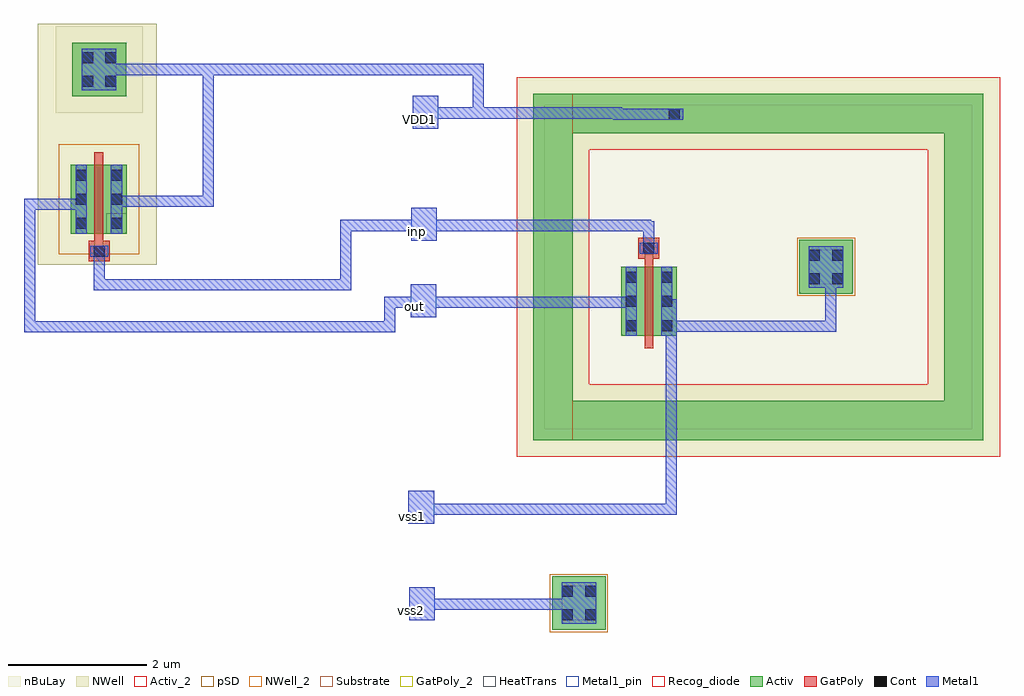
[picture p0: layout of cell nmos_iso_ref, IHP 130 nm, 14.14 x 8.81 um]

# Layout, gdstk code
import gdstk
lib = gdstk.Library(unit=1e-6, precision=1e-09)
def R(c, l, rs):  # rectangles x0, y0, x1, y1
    for r in rs: c.add(gdstk.rectangle(r[:2], r[2:], *l))
def A(c, l, x, y, w, h, nx, ny, dx, dy):  # array of equal rectangles
    R(c, l, [(x+i*dx, y+j*dy, x+i*dx+w, y+j*dy+h) for i in range(nx) for j in range(ny)])
def P(c, l, *ps):  # polygons
    for p in ps: c.add(gdstk.Polygon(p, *l))
Activ = (1, 0)
Activ_2 = (1, 2)
GatPoly = (5, 0)
GatPoly_2 = (5, 2)
Cont = (6, 0)
Metal1 = (8, 0)
Metal1_pin = (8, 2)
pSD = (14, 0)
NWell = (31, 0)
NWell_2 = (31, 2)
nBuLay = (32, 0)
Substrate = (40, 0)
HeatTrans = (51, 0)
Recog_diode = (99, 31)

nmos = lib.new_cell('nmos')
R(nmos, Activ, [(0,0,0.3,0.3), (0,0,0.81,1), (0.51,0,0.81,0.3)])
R(nmos, GatPoly, [(0.34,-0.18,0.47,1.18)])
R(nmos, GatPoly_2, [(0.34,-0.18,0.47,1.18)])
A(nmos, Cont, 0.07, 0.07, 0.16, 0.16, 1, 3, 0, 0.35)
A(nmos, Cont, 0.58, 0.07, 0.16, 0.16, 1, 3, 0, 0.35)
R(nmos, Metal1, [(0.07,0,0.23,1), (0.58,0,0.74,1)])
R(nmos, Metal1_pin, [(0.07,0,0.23,1), (0.58,0,0.74,1)])
R(nmos, HeatTrans, [(0.34,-0.18,0.47,1.18)])
nmos.add(gdstk.Label('nmos', (0.405,0.5), layer=63, texttype=0))
nmos.add(gdstk.Label('nmos', (0.405,0.5), layer=51, texttype=0))

isolbox = lib.new_cell('isolbox')
P(isolbox, Activ, [(-0.81,-0.81),(-0.81,-0.24),(5.14,-0.24),(5.14,3.64),(-0.24,3.64),(-0.24,-0.24),(-0.81,-0.24),(-0.81,4.21),(5.71,4.21),(5.71,-0.81)])
R(isolbox, Activ_2, [(-0.81,-0.81,-0.24,4.21)])
P(isolbox, NWell, [(-1.05,-1.05),(-1.05,0),(4.9,0),(4.9,3.4),(0,3.4),(0,0),(-1.05,0),(-1.05,4.45),(5.95,4.45),(5.95,-1.05)])
R(isolbox, nBuLay, [(-0.65,-0.65,5.55,4.05)])
P(isolbox, Recog_diode, [(-1.05,-1.05),(-1.05,0),(4.9,0),(4.9,3.4),(0,3.4),(0,0),(-1.05,0),(-1.05,4.45),(5.95,4.45),(5.95,-1.05)])
isolbox.add(gdstk.Label('isolbox', (0,-0.525), layer=63, texttype=0))

ptap1 = lib.new_cell('ptap1')
R(ptap1, Activ, [(0,0,0.78,0.78)])
R(ptap1, Cont, [(0.14,0.14,0.3,0.3), (0.48,0.14,0.64,0.3), (0.14,0.48,0.3,0.64), (0.48,0.48,0.64,0.64)])
R(ptap1, Metal1, [(0.14,0.09,0.64,0.69), (0.14,0.14,0.64,0.64)])
R(ptap1, Metal1_pin, [(0.14,0.14,0.64,0.64)])
R(ptap1, pSD, [(-0.03,-0.03,0.81,0.81)])
R(ptap1, Substrate, [(0,0,0.78,0.78)])
ptap1.add(gdstk.Label('sub!', (0.39,0.01), layer=63, texttype=0))
ptap1.add(gdstk.Label('sub!', (0.39,0.01), layer=40, texttype=0))

via_1 = lib.new_cell('Via$1')
R(via_1, Activ, [(-0.15,-0.15,0.15,0.15)])
R(via_1, Cont, [(-0.08,-0.08,0.08,0.08)])
R(via_1, Metal1, [(-0.13,-0.08,0.13,0.08)])

via = lib.new_cell('Via')
R(via, GatPoly, [(-0.15,-0.15,0.15,0.15)])
R(via, Cont, [(-0.08,-0.08,0.08,0.08)])
R(via, Metal1, [(-0.13,-0.08,0.13,0.08)])

pmos_1 = lib.new_cell('pmos$1')
R(pmos_1, Activ, [(0,0,0.3,0.3), (0,0,0.81,1), (0.51,0,0.81,0.3)])
R(pmos_1, GatPoly, [(0.34,-0.18,0.47,1.18), (0.34,-0.18,0.47,1.18)])
A(pmos_1, Cont, 0.07, 0.07, 0.16, 0.16, 1, 3, 0, 0.35)
A(pmos_1, Cont, 0.58, 0.07, 0.16, 0.16, 1, 3, 0, 0.35)
R(pmos_1, Metal1, [(0.07,0,0.23,1), (0.07,0,0.23,1), (0.58,0,0.74,1), (0.58,0,0.74,1)])
R(pmos_1, pSD, [(-0.18,-0.3,0.99,1.3)])
R(pmos_1, NWell, [(-0.31,-0.31,1.12,1.31)])
R(pmos_1, Substrate, [(0.51,0,0.81,0.3)])
R(pmos_1, HeatTrans, [(0.34,-0.18,0.47,1.18)])
pmos_1.add(gdstk.Label('pmos', (0.405,0.5), layer=63, texttype=0))
pmos_1.add(gdstk.Label('pmos', (0.405,0.5), layer=51, texttype=0))

ntap1 = lib.new_cell('ntap1')
R(ntap1, Activ, [(0,0,0.78,0.78)])
R(ntap1, Cont, [(0.14,0.14,0.3,0.3), (0.48,0.14,0.64,0.3), (0.14,0.48,0.3,0.64), (0.48,0.48,0.64,0.64)])
R(ntap1, Metal1, [(0.14,0.09,0.64,0.69)])
R(ntap1, Metal1_pin, [(0.14,0.09,0.64,0.69), (0.14,0.14,0.64,0.64)])
R(ntap1, NWell, [(-0.24,-0.24,1.02,1.02), (0,0,0.78,0.78)])
R(ntap1, NWell_2, [(0,0,0.78,0.78)])
R(ntap1, nBuLay, [(-0.24,-0.24,1.02,1.02)])
ntap1.add(gdstk.Label('well', (0.39,0.01), layer=63, texttype=0))
ntap1.add(gdstk.Label('well', (0.39,0.01), layer=31, texttype=0))

via_2 = lib.new_cell('Via$2')
R(via_2, GatPoly, [(-0.15,-0.15,0.15,0.15)])
R(via_2, Cont, [(-0.08,-0.08,0.08,0.08)])
R(via_2, Metal1, [(-0.13,-0.08,0.13,0.08)])

nmos_iso_ref = lib.new_cell('nmos_iso_ref')
P(nmos_iso_ref, Metal1, [(0.93,4.75),(0.93,5.23),(1.3,5.23),(1.3,5.13),(1.3,4.75)],
  [(0.91,3.13),(0.91,3.61),(1.28,3.61),(1.28,3.51),(1.28,3.13)],
  [(0.9,2.02),(0.9,2.5),(1.27,2.5),(1.27,2.4),(1.27,2.02)],
  [(0.87,-0.97),(0.87,-0.49),(1.24,-0.49),(1.24,-0.59),(1.24,-0.97)],
  [(0.88,-2.37),(0.88,-1.89),(1.25,-1.89),(1.25,-1.99),(1.25,-2.37)])
R(nmos_iso_ref, Metal1_pin, [(0.88,-2.37,1.25,-1.89), (0.87,-0.97,1.24,-0.49), (0.9,2.02,1.27,2.5), (0.91,3.13,1.28,3.61), (0.93,4.75,1.3,5.23)])
R(nmos_iso_ref, NWell, [(-4.5,2.78,-2.78,6.27)])
nmos_iso_ref.add(gdstk.FlexPath([(-3.61,2.98),(-3.61,2.97)], 0.14, ends="flush", simple_path=True, layer=5, datatype=0))  # GatPoly
nmos_iso_ref.add(gdstk.FlexPath([(4.35,3.02),(4.36,3.02)], 0.14, ends="flush", simple_path=True, layer=5, datatype=0))  # GatPoly
nmos_iso_ref.add(gdstk.FlexPath([(-3.63,5.61),(1.88,5.61),(1.88,4.98)], 0.16, ends="flush", simple_path=True, layer=8, datatype=0))  # Metal1
nmos_iso_ref.add(gdstk.FlexPath([(-3.61,2.62),(-3.61,2.98)], 0.16, ends="flush", simple_path=True, layer=8, datatype=0))  # Metal1
nmos_iso_ref.add(gdstk.FlexPath([(-3.61,2.65),(-3.61,2.49),(-0.04,2.49),(-0.04,3.35),(1.15,3.35)], 0.16, ends="flush", simple_path=True, layer=8, datatype=0))  # Metal1
nmos_iso_ref.add(gdstk.FlexPath([(-3.33,3.7),(-2.03,3.7),(-2.03,5.64)], 0.16, ends="flush", simple_path=True, layer=8, datatype=0))  # Metal1
nmos_iso_ref.add(gdstk.FlexPath([(-3.89,3.66),(-4.62,3.66),(-4.62,1.88),(0.6,1.88),(0.6,2.24),(1.23,2.24)], 0.16, ends="flush", simple_path=True, layer=8, datatype=0))  # Metal1
nmos_iso_ref.add(gdstk.FlexPath([(3.83,4.96),(4.72,4.96)], 0.16, ends="flush", simple_path=True, layer=8, datatype=0))  # Metal1
nmos_iso_ref.add(gdstk.FlexPath([(4.35,3.41),(4.35,3.02)], 0.16, ends="flush", simple_path=True, layer=8, datatype=0))  # Metal1
nmos_iso_ref.add(gdstk.FlexPath([(4.68,2.28),(4.68,-0.76),(1.01,-0.76)], 0.16, ends="flush", simple_path=True, layer=8, datatype=0))  # Metal1
nmos_iso_ref.add(gdstk.FlexPath([(4.06,2.24),(1.04,2.24)], 0.16, ends="flush", simple_path=True, layer=8, datatype=0))  # Metal1
nmos_iso_ref.add(gdstk.FlexPath([(4.67,1.89),(6.99,1.89),(6.99,2.71)], 0.16, ends="flush", simple_path=True, layer=8, datatype=0))  # Metal1
nmos_iso_ref.add(gdstk.FlexPath([(4.39,3.35),(1.05,3.35)], 0.16, ends="flush", simple_path=True, layer=8, datatype=0))  # Metal1
nmos_iso_ref.add(gdstk.FlexPath([(3.97,4.98),(1.03,4.98)], 0.16, ends="flush", simple_path=True, layer=8, datatype=0))  # Metal1
nmos_iso_ref.add(gdstk.FlexPath([(3.35,-2.14),(0.98,-2.14)], 0.16, ends="flush", simple_path=True, layer=8, datatype=0))  # Metal1
nmos_iso_ref.add(gdstk.FlexPath([(4.72,4.96),(4.99,4.96)], 0.25, ends="flush", simple_path=True, layer=1, datatype=0))  # Activ
nmos_iso_ref.add(gdstk.Reference(nmos, (3.95,1.75)))
nmos_iso_ref.add(gdstk.Reference(isolbox, (3.49,1.05)))
nmos_iso_ref.add(gdstk.Reference(ptap1, (6.53,2.36)))
nmos_iso_ref.add(gdstk.Reference(ptap1, (2.95,-2.51)))
nmos_iso_ref.add(gdstk.Reference(via_1, (4.72,4.96)))
nmos_iso_ref.add(gdstk.Reference(via, (4.35,3.02)))
nmos_iso_ref.add(gdstk.Reference(pmos_1, (-4.02,3.23)))
nmos_iso_ref.add(gdstk.Reference(ntap1, (-4,5.22)))
nmos_iso_ref.add(gdstk.Reference(via_2, (-3.61,2.98)))
nmos_iso_ref.add(gdstk.Label('inp', (1,3.27), layer=8, texttype=25))
nmos_iso_ref.add(gdstk.Label('VDD1', (1.03,4.89), layer=8, texttype=25))
nmos_iso_ref.add(gdstk.Label('out', (0.96,2.17), layer=8, texttype=25))
nmos_iso_ref.add(gdstk.Label('vss1', (0.93,-0.87), layer=8, texttype=25))
nmos_iso_ref.add(gdstk.Label('vss2', (0.92,-2.23), layer=8, texttype=25))

lib.write_gds('nmos_iso_ref.gds')
